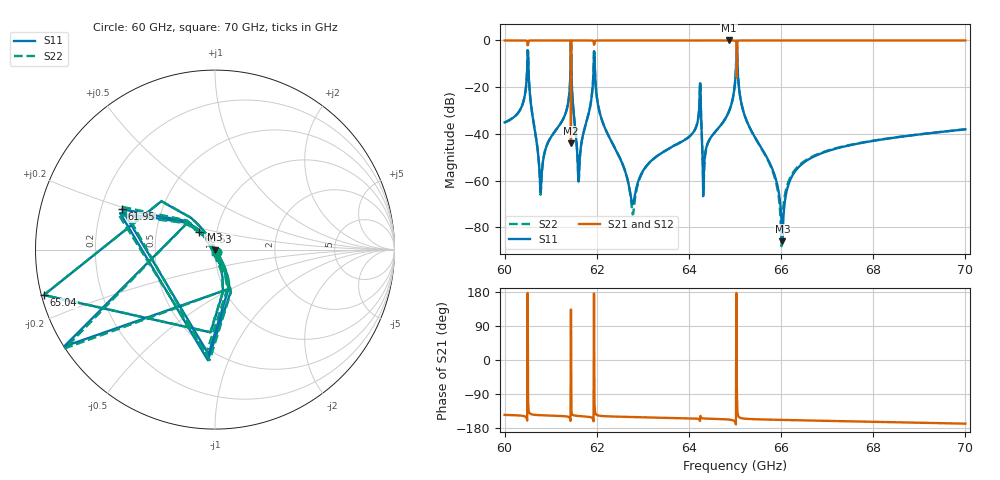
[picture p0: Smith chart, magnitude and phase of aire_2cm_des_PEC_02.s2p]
! TOUCHSTONE file generated by CST MICROWAVE STUDIO
! Date and time: Tue Feb 27 23:38:24 2024
! Project name: aire_des.cst
! Header version: 2018
! Port assignment regex: !\s*Touchstone port\s*([0-9]+)\s*=\s*(CST MWS port|CST DS port)\s*([0-9]+|Zmin|Zmax)\s*\(\"(.*)\"\)(\s*mode\s*([0-9]+))?.*
! Touchstone port assignment:
! Touchstone port 1 = CST MWS port 1 ("")
! Touchstone port 2 = CST MWS port 2 ("")
# GHz S MA R 376.7
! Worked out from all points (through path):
!   1001 points, 60 GHz to 70 GHz, reference 376.7 ohm
!   highest |S21| = 0.00 dB at 64.87 GHz (marker M1); lowest = -44.0 dB at 61.44 GHz (marker M2)
!   lowest |S11| = -86.0 dB at 66.03 GHz (marker M3), VSWR 1.00, Z = 377 + j0.00209 ohm
!   |S11| at or under -10 dB: 60.52 GHz to 61.43 GHz (915.9 MHz wide, 1.5 % of centre); 61.96 GHz to 65.02 GHz (3.068 GHz wide, 4.83 % of centre); 65.05 GHz to end of sweep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
!   |S22| runs from -88.1 to 0.0 dB; largest |S21 - S12| = 0.011
!   S11 on the Smith chart (normalised r, x): 60 GHz: 1.02, -0.03; 60.53 GHz: 0.82, +0.17; 61.95 GHz: 0.29, +0.19; 65.04 GHz: 0.01, -0.13; 70 GHz: 1.00, -0.02
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60  0.01766 -53.3  0.9996 -144.8  0.9999 -144.9  0.01755 -56.3
60.53  0.1327 131.9  0.9909 -137.5  0.9909 -137.5  0.1334 133.1
60.79  0.0007257 -6.6  1 -145.8  0.9999 -145.8  0.0006628 -103.8
61.44  0.9988 -147.3  0.006307 133.3  0.006182 130.6  0.9992 -146.6
61.58  0.003339 109.3  1 -147.5  1 -147.5  0.003419 136.6
61.67  0.006627 -51.6  1 -148.2  1 -148.2  0.006573 -65.2
61.95  0.565 156.6  0.8246 -114.1  0.8248 -114.1  0.5651 155.2
62.11  0.01991 121.6  0.9998 -147.8  0.9998 -147.8  0.01992 122.7
62.78  0.000311 26.9  1 -150.5  1 -150.5  0.0001883 -159.3
63.34  0.003515 -57.3  1 -152.1  1 -152.1  0.003529 -66.0
64.22  0.03132 -63.1  0.9992 -155.7  0.9998 -155.7  0.03206 -68.1
64.35  0.003599 -66.6  1 -154.5  0.9999 -154.5  0.003316 -61.6
64.87  0.03042 -67.0  1 -157.2  0.9998 -157.2  0.03048 -67.4
65  0.1229 -72.7  0.9923 -162.8  0.9923 -162.8  0.1229 -72.9
65.04  0.9865 -165.1  0.1609 -75.3  0.1609 -75.3  0.9866 -165.2
65.21  0.02476 115.0  0.9996 -154.9  0.9996 -154.9  0.02464 115.3
65.82  0.001682 110.4  0.9999 -157.6  0.9999 -157.6  0.001556 114.3
66.03  5.013e-05 3.2  0.9999 -158.2  0.9999 -158.2  0.0001495 -82.7
66.22  0.001151 -66.9  0.9999 -158.7  0.9999 -158.7  0.00128 -69.8
66.67  0.003118 -69.7  1 -159.8  0.9999 -159.8  0.003241 -69.7
68.34  0.007985 -74.4  1 -163.9  0.9999 -163.9  0.008044 -73.1
70  0.01252 -78.1  0.9998 -168.0  1 -168.0  0.01252 -77.9
